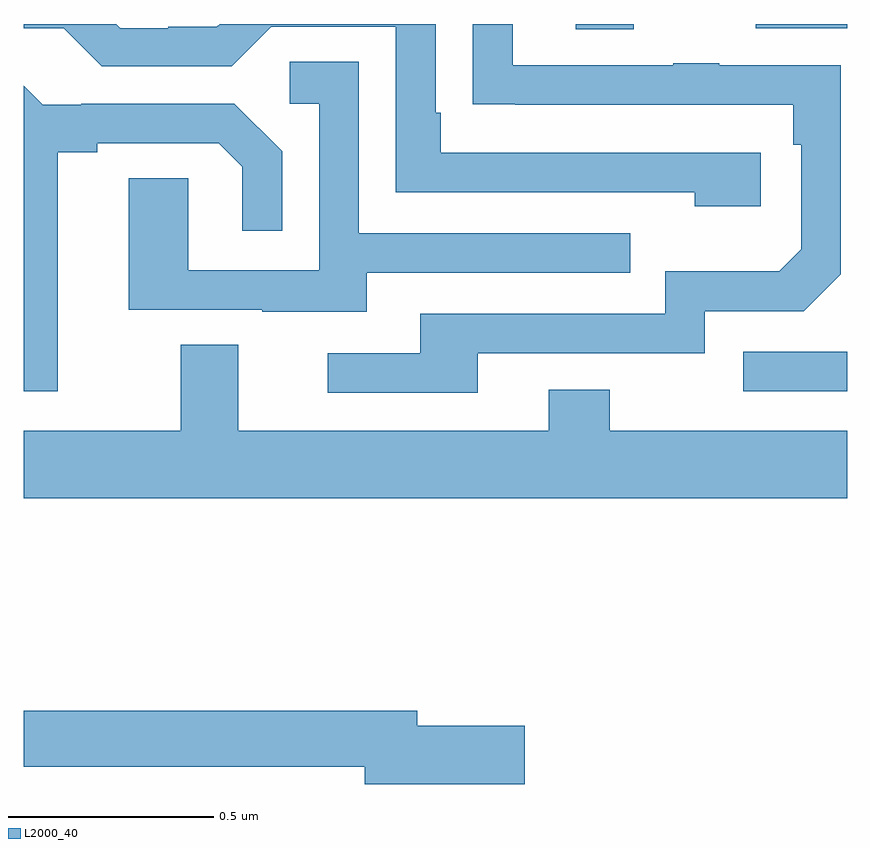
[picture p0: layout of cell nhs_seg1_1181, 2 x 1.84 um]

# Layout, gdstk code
import gdstk
lib = gdstk.Library(unit=1e-6, precision=1e-09)
def R(c, l, rs):  # rectangles x0, y0, x1, y1
    for r in rs: c.add(gdstk.rectangle(r[:2], r[2:], *l))
def P(c, l, *ps):  # polygons
    for p in ps: c.add(gdstk.Polygon(p, *l))
L2000_40 = (2000, 40)

nhs_seg1_1181 = lib.new_cell('nhs_seg1_1181')
R(nhs_seg1_1181, L2000_40, [(126.747,569.307,127,569.403), (126.341,570.186,126.481,570.199), (126.777,570.189,127,570.199)])
P(nhs_seg1_1181, L2000_40, [(126.79,569.886),(126.013,569.886),(126.013,569.983),(126,569.983),(126,570.199),(125.476,570.199),(125.469,570.192),(125.351,570.192),(125.351,570.189),(125.235,570.189),(125.225,570.199),(125,570.199),(125,570.189),(125.097,570.189),(125.19,570.096),(125.505,570.096),(125.601,570.192),(125.904,570.192),(125.904,569.79),(126.629,569.79),(126.629,569.756),(126.79,569.756)],
  [(126.103,569.4),(126.654,569.4),(126.654,569.502),(126.894,569.502),(126.984,569.592),(126.984,570.099),(126.689,570.099),(126.689,570.104),(126.577,570.104),(126.577,570.099),(126.187,570.099),(126.187,570.199),(126.091,570.199),(126.091,570.004),(126.193,570.004),(126.193,570.003),(126.868,570.003),(126.868,569.906),(126.888,569.906),(126.888,569.652),(126.835,569.599),(126.558,569.599),(126.558,569.496),(125.963,569.496),(125.963,569.4),(125.739,569.4),(125.739,569.304),(126.103,569.304)],
  [(125.833,569.595),(126.473,569.595),(126.473,569.691),(125.814,569.691),(125.814,570.107),(125.646,570.107),(125.646,570.006),(125.718,570.006),(125.718,569.601),(125.4,569.601),(125.4,569.825),(125.255,569.825),(125.255,569.505),(125.579,569.505),(125.579,569.501),(125.833,569.501)],
  [(125.083,569.888),(125.179,569.888),(125.179,569.91),(125.474,569.91),(125.531,569.853),(125.531,569.697),(125.628,569.697),(125.628,569.89),(125.512,570.006),(125.14,570.006),(125.14,570.003),(125.046,570.003),(125,570.049),(125,569.307),(125.083,569.307)],
  [(127,569.212),(126.423,569.212),(126.423,569.311),(126.275,569.311),(126.275,569.212),(125.521,569.212),(125.521,569.42),(125.381,569.42),(125.381,569.212),(125,569.212),(125,569.048),(127,569.048)],
  [(126.217,568.496),(125.956,568.496),(125.956,568.532),(125,568.532),(125,568.396),(125.828,568.396),(125.828,568.354),(126.217,568.354)])

lib.write_gds('nhs_seg1_1181.gds')
